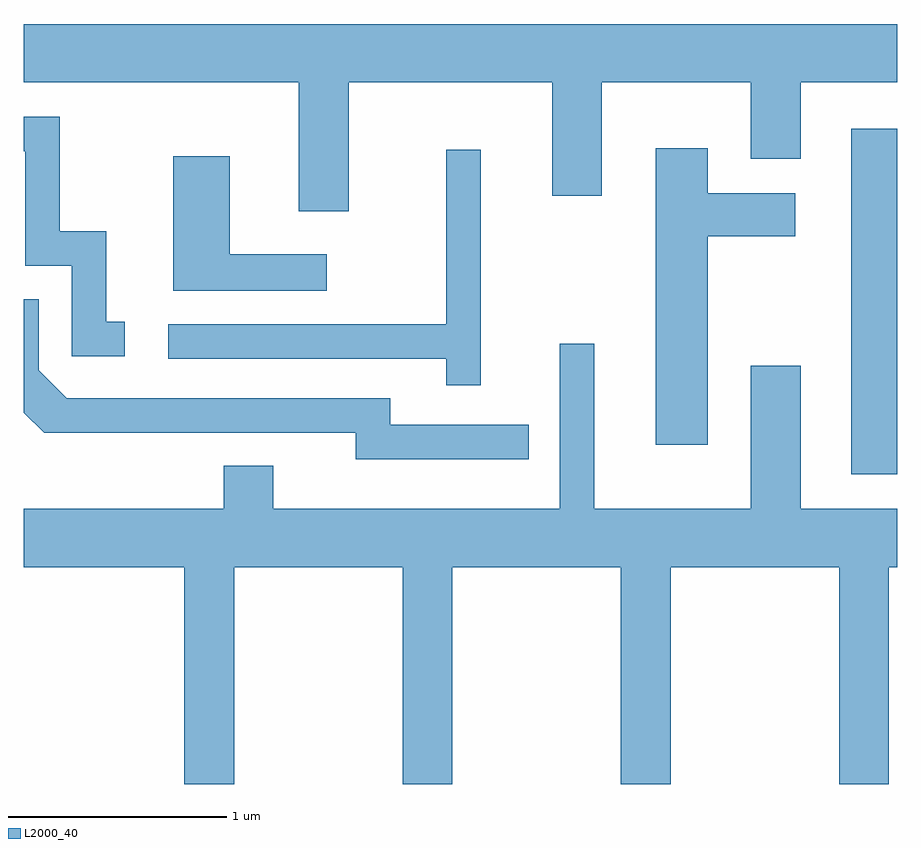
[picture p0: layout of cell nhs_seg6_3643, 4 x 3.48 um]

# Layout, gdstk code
import gdstk
lib = gdstk.Library(unit=1e-6, precision=1e-09)
def R(c, l, rs):  # rectangles x0, y0, x1, y1
    for r in rs: c.add(gdstk.rectangle(r[:2], r[2:], *l))
def P(c, l, *ps):  # polygons
    for p in ps: c.add(gdstk.Polygon(p, *l))
L2000_40 = (2000, 40)

nhs_seg6_3643 = lib.new_cell('nhs_seg6_3643')
R(nhs_seg6_3643, L2000_40, [(299.401,1541.581,299.611,1543.164)])
P(nhs_seg6_3643, L2000_40, [(297.099,1543.376),(298.031,1543.376),(298.031,1542.856),(298.259,1542.856),(298.259,1543.376),(298.941,1543.376),(298.941,1543.026),(299.169,1543.026),(299.169,1543.376),(299.611,1543.376),(299.611,1543.644),(295.611,1543.644),(295.611,1543.376),(296.871,1543.376),(296.871,1542.786),(297.099,1542.786)],
  [(296.073,1542.279),(295.989,1542.279),(295.989,1542.694),(295.774,1542.694),(295.774,1543.219),(295.611,1543.219),(295.611,1543.061),(295.616,1543.061),(295.616,1542.536),(295.831,1542.536),(295.831,1542.121),(296.073,1542.121)],
  [(298.744,1542.671),(299.144,1542.671),(299.144,1542.869),(298.744,1542.869),(298.744,1543.074),(298.506,1543.074),(298.506,1541.716),(298.744,1541.716)],
  [(297.704,1543.068),(297.546,1543.068),(297.546,1542.269),(296.273,1542.269),(296.273,1542.111),(297.546,1542.111),(297.546,1541.988),(297.704,1541.988)],
  [(296.998,1542.589),(296.554,1542.589),(296.554,1543.039),(296.296,1543.039),(296.296,1542.421),(296.998,1542.421)],
  [(297.923,1541.809),(297.289,1541.809),(297.289,1541.929),(295.807,1541.929),(295.679,1542.057),(295.679,1542.384),(295.611,1542.384),(295.611,1541.864),(295.704,1541.771),(297.131,1541.771),(297.131,1541.651),(297.923,1541.651)],
  [(296.574,1541.156),(297.346,1541.156),(297.346,1540.162),(297.574,1540.162),(297.574,1541.156),(298.346,1541.156),(298.346,1540.162),(298.574,1540.162),(298.574,1541.156),(299.346,1541.156),(299.346,1540.162),(299.574,1540.162),(299.574,1541.156),(299.611,1541.156),(299.611,1541.424),(299.169,1541.424),(299.169,1542.079),(298.941,1542.079),(298.941,1541.424),(298.224,1541.424),(298.224,1542.178),(298.066,1542.178),(298.066,1541.424),(296.754,1541.424),(296.754,1541.619),(296.526,1541.619),(296.526,1541.424),(295.611,1541.424),(295.611,1541.156),(296.346,1541.156),(296.346,1540.162),(296.574,1540.162)])

lib.write_gds('nhs_seg6_3643.gds')
